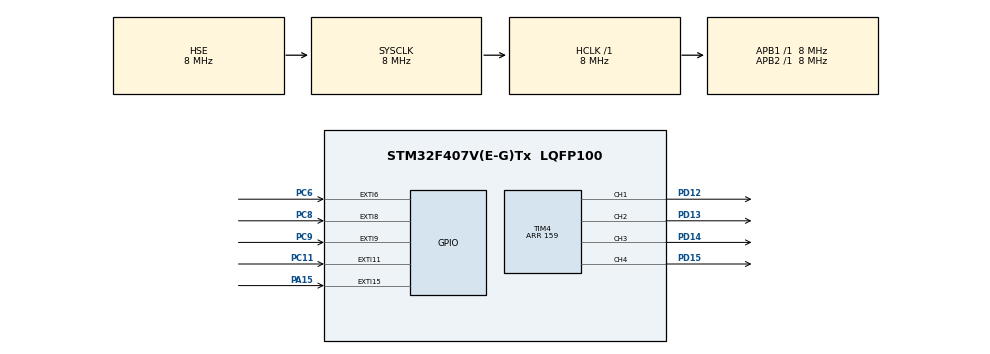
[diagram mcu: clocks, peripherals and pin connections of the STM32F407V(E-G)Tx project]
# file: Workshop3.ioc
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Mcu.Family=STM32F4
Mcu.Name=STM32F407V(E-G)Tx
Mcu.Package=LQFP100
NVIC.EXTI15_10_IRQn=true\:0\:0\:false\:false\:true\:true\:true
NVIC.EXTI9_5_IRQn=true\:0\:0\:false\:false\:true\:true\:true
NVIC.PriorityGroup=NVIC_PRIORITYGROUP_4
PA15.GPIO_ModeDefaultEXTI=GPIO_MODE_IT_FALLING
PA15.Signal=GPXTI15
PC11.GPIO_ModeDefaultEXTI=GPIO_MODE_IT_FALLING
PC11.Signal=GPXTI11
PC6.GPIO_ModeDefaultEXTI=GPIO_MODE_IT_FALLING
PC6.Signal=GPXTI6
PC8.GPIO_ModeDefaultEXTI=GPIO_MODE_IT_FALLING
PC8.Signal=GPXTI8
PC9.GPIO_ModeDefaultEXTI=GPIO_MODE_IT_FALLING
PC9.Signal=GPXTI9
PD12.Signal=S_TIM4_CH1
PD13.Signal=S_TIM4_CH2
PD14.Signal=S_TIM4_CH3
PD15.Signal=S_TIM4_CH4
PH0-OSC_IN.Mode=HSE-External-Oscillator
PH0-OSC_IN.Signal=RCC_OSC_IN
PH1-OSC_OUT.Mode=HSE-External-Oscillator
PH1-OSC_OUT.Signal=RCC_OSC_OUT
ProjectManager.HeapSize=0x200
ProjectManager.StackSize=0x400
ProjectManager.TargetToolchain=STM32CubeIDE
RCC.48MHZClocksFreq_Value=48000000
RCC.AHBFreq_Value=8000000
RCC.APB1Freq_Value=8000000
RCC.APB1TimFreq_Value=8000000
RCC.APB2Freq_Value=8000000
RCC.APB2TimFreq_Value=8000000
RCC.CortexFreq_Value=8000000
RCC.HCLKFreq_Value=8000000
RCC.HSE_VALUE=8000000
RCC.HSI_VALUE=16000000
RCC.LSE_VALUE=32768
RCC.SYSCLKFreq_VALUE=8000000
RCC.SYSCLKSource=RCC_SYSCLKSOURCE_HSE
RCC.VCOOutputFreq_Value=192000000
SH.S_TIM4_CH1.0=TIM4_CH1,PWM Generation1 CH1
SH.S_TIM4_CH2.0=TIM4_CH2,PWM Generation2 CH2
SH.S_TIM4_CH3.0=TIM4_CH3,PWM Generation3 CH3
SH.S_TIM4_CH4.0=TIM4_CH4,PWM Generation4 CH4
TIM4.AutoReloadPreload=TIM_AUTORELOAD_PRELOAD_ENABLE
TIM4.Channel-PWM\ Generation1\ CH1=TIM_CHANNEL_1
TIM4.Channel-PWM\ Generation2\ CH2=TIM_CHANNEL_2
TIM4.Channel-PWM\ Generation3\ CH3=TIM_CHANNEL_3
TIM4.Channel-PWM\ Generation4\ CH4=TIM_CHANNEL_4
TIM4.Period=159
TIM4.Pulse-PWM\ Generation1\ CH1=80
TIM4.Pulse-PWM\ Generation2\ CH2=80
TIM4.Pulse-PWM\ Generation3\ CH3=80
TIM4.Pulse-PWM\ Generation4\ CH4=80
VP_TIM4_VS_ClockSourceINT.Mode=Internal
board=custom

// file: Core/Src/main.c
/* USER CODE BEGIN Header */
/**
  ******************************************************************************
  * @file           : main.c
  * @brief          : Main program body
  ******************************************************************************
  * @attention
  *
  * <h2><center>&copy; Copyright (c) 2021 STMicroelectronics.
  * All rights reserved.</center></h2>
  *
  * This software component is licensed by ST under BSD 3-Clause license,
  * the "License"; You may not use this file except in compliance with the
  * License. You may obtain a copy of the License at:
  *                        opensource.org/licenses/BSD-3-Clause
  *
  ******************************************************************************
  */
/* USER CODE END Header */
#include "main.h"

TIM_HandleTypeDef htim4;

void SystemClock_Config(void);
static void MX_GPIO_Init(void);
static void MX_TIM4_Init(void);

/* USER CODE BEGIN 0 */

int8_t scheme = 0;
const uint8_t dutyCycleChangePercent = 5;
const uint16_t signalFrequencyChange = 5000;
uint16_t globalDutyCycle = 80;

void updateScheme(int value)
{
	switch(scheme)
	{
	case 0:
		TIM4->CCR1 = value;
		break;
	case 1:
		TIM4->CCR2 = value;
		break;
	case 2:
		TIM4->CCR3 = value;
		break;
	case 3:
		TIM4->CCR4 = value;
		break;
	default:
		break;
	}
}

void updateDutyCycle(int percent)
{
	int newDutyCycle = (globalDutyCycle) * percent / 100 + globalDutyCycle;
	if (newDutyCycle < TIM4->ARR)
	{
		globalDutyCycle = newDutyCycle;
		updateScheme(globalDutyCycle);
	}

}

void updateSignalFrequency(int updateFrequencyValue)
{
	int percentOfChange = updateFrequencyValue * 100 / ((int)(HSE_VALUE / TIM4->ARR));
	int newPeriod = HSE_VALUE / (HSE_VALUE / TIM4->ARR + updateFrequencyValue);

	if (newPeriod < HSE_VALUE && newPeriod > 0)
	{
		TIM4->ARR = newPeriod;
		updateDutyCycle(-percentOfChange);
	}
}

/* USER CODE END 0 */

int main(void)
{

  /* MCU Configuration--------------------------------------------------------*/

  /* Reset of all peripherals, Initializes the Flash interface and the Systick. */
  HAL_Init();

  /* Configure the system clock */
  SystemClock_Config();

  /* Initialize all configured peripherals */
  MX_GPIO_Init();
  MX_TIM4_Init();
  /* USER CODE BEGIN 2 */
  HAL_TIM_Base_Start_IT(&htim4);
  HAL_TIM_PWM_Start(&htim4, TIM_CHANNEL_1);
  HAL_TIM_PWM_Start(&htim4, TIM_CHANNEL_2);
  HAL_TIM_PWM_Start(&htim4, TIM_CHANNEL_3);
  HAL_TIM_PWM_Start(&htim4, TIM_CHANNEL_4);

  TIM4->CCR2 = 0;
  TIM4->CCR3 = 0;
  TIM4->CCR4 = 0;

  /* USER CODE END 2 */
  /* Infinite loop */
  while (1)
  {

  }
}

void SystemClock_Config(void)
{
  RCC_OscInitTypeDef RCC_OscInitStruct = {0};
  RCC_ClkInitTypeDef RCC_ClkInitStruct = {0};

  /** Configure the main internal regulator output voltage
  */
  __HAL_RCC_PWR_CLK_ENABLE();
  __HAL_PWR_VOLTAGESCALING_CONFIG(PWR_REGULATOR_VOLTAGE_SCALE1);
  /** Initializes the RCC Oscillators according to the specified parameters
  * in the RCC_OscInitTypeDef structure.
  */
  RCC_OscInitStruct.OscillatorType = RCC_OSCILLATORTYPE_HSE;
  RCC_OscInitStruct.HSEState = RCC_HSE_ON;
  RCC_OscInitStruct.PLL.PLLState = RCC_PLL_NONE;
  if (HAL_RCC_OscConfig(&RCC_OscInitStruct) != HAL_OK)
  {
    Error_Handler();
  }
  /** Initializes the CPU, AHB and APB buses clocks
  */
  RCC_ClkInitStruct.ClockType = RCC_CLOCKTYPE_HCLK|RCC_CLOCKTYPE_SYSCLK
                              |RCC_CLOCKTYPE_PCLK1|RCC_CLOCKTYPE_PCLK2;
  RCC_ClkInitStruct.SYSCLKSource = RCC_SYSCLKSOURCE_HSE;
  RCC_ClkInitStruct.AHBCLKDivider = RCC_SYSCLK_DIV1;
  RCC_ClkInitStruct.APB1CLKDivider = RCC_HCLK_DIV1;
  RCC_ClkInitStruct.APB2CLKDivider = RCC_HCLK_DIV1;

  if (HAL_RCC_ClockConfig(&RCC_ClkInitStruct, FLASH_LATENCY_0) != HAL_OK)
  {
    Error_Handler();
  }
}

static void MX_TIM4_Init(void)
{

  TIM_ClockConfigTypeDef sClockSourceConfig = {0};
  TIM_MasterConfigTypeDef sMasterConfig = {0};
  TIM_OC_InitTypeDef sConfigOC = {0};

  htim4.Instance = TIM4;
  htim4.Init.Prescaler = 0;
  htim4.Init.CounterMode = TIM_COUNTERMODE_UP;
  htim4.Init.Period = 159;
  htim4.Init.ClockDivision = TIM_CLOCKDIVISION_DIV1;
  htim4.Init.AutoReloadPreload = TIM_AUTORELOAD_PRELOAD_ENABLE;
  if (HAL_TIM_Base_Init(&htim4) != HAL_OK)
  {
    Error_Handler();
  }
  sClockSourceConfig.ClockSource = TIM_CLOCKSOURCE_INTERNAL;
  if (HAL_TIM_ConfigClockSource(&htim4, &sClockSourceConfig) != HAL_OK)
  {
    Error_Handler();
  }
  if (HAL_TIM_PWM_Init(&htim4) != HAL_OK)
  {
    Error_Handler();
  }
  sMasterConfig.MasterOutputTrigger = TIM_TRGO_RESET;
  sMasterConfig.MasterSlaveMode = TIM_MASTERSLAVEMODE_DISABLE;
  if (HAL_TIMEx_MasterConfigSynchronization(&htim4, &sMasterConfig) != HAL_OK)
  {
    Error_Handler();
  }
  sConfigOC.OCMode = TIM_OCMODE_PWM1;
  sConfigOC.Pulse = 80;
  sConfigOC.OCPolarity = TIM_OCPOLARITY_HIGH;
  sConfigOC.OCFastMode = TIM_OCFAST_DISABLE;
  if (HAL_TIM_PWM_ConfigChannel(&htim4, &sConfigOC, TIM_CHANNEL_1) != HAL_OK)
  {
    Error_Handler();
  }
  if (HAL_TIM_PWM_ConfigChannel(&htim4, &sConfigOC, TIM_CHANNEL_2) != HAL_OK)
  {
    Error_Handler();
  }
  if (HAL_TIM_PWM_ConfigChannel(&htim4, &sConfigOC, TIM_CHANNEL_3) != HAL_OK)
  {
    Error_Handler();
  }
  if (HAL_TIM_PWM_ConfigChannel(&htim4, &sConfigOC, TIM_CHANNEL_4) != HAL_OK)
  {
    Error_Handler();
  }
  HAL_TIM_MspPostInit(&htim4);

}

static void MX_GPIO_Init(void)
{
  GPIO_InitTypeDef GPIO_InitStruct = {0};

  /* GPIO Ports Clock Enable */
  __HAL_RCC_GPIOH_CLK_ENABLE();
  __HAL_RCC_GPIOD_CLK_ENABLE();
  __HAL_RCC_GPIOC_CLK_ENABLE();
  __HAL_RCC_GPIOA_CLK_ENABLE();

  /*Configure GPIO pins : PC6 PC8 PC9 PC11 */
  GPIO_InitStruct.Pin = GPIO_PIN_6|GPIO_PIN_8|GPIO_PIN_9|GPIO_PIN_11;
  GPIO_InitStruct.Mode = GPIO_MODE_IT_FALLING;
  GPIO_InitStruct.Pull = GPIO_NOPULL;
  HAL_GPIO_Init(GPIOC, &GPIO_InitStruct);

  /*Configure GPIO pin : PA15 */
  GPIO_InitStruct.Pin = GPIO_PIN_15;
  GPIO_InitStruct.Mode = GPIO_MODE_IT_FALLING;
  GPIO_InitStruct.Pull = GPIO_NOPULL;
  HAL_GPIO_Init(GPIOA, &GPIO_InitStruct);

  /* EXTI interrupt init*/
  HAL_NVIC_SetPriority(EXTI9_5_IRQn, 0, 0);
  HAL_NVIC_EnableIRQ(EXTI9_5_IRQn);

  HAL_NVIC_SetPriority(EXTI15_10_IRQn, 0, 0);
  HAL_NVIC_EnableIRQ(EXTI15_10_IRQn);

}

/* USER CODE BEGIN 4 */

void HAL_GPIO_EXTI_Callback(uint16_t GPIO_PIN)
{
	switch (GPIO_PIN)
	{
	case GPIO_PIN_15:	// next scheme
		for (uint16_t value = 0;; value = globalDutyCycle)
		{
			updateScheme(value);
			if (value != 0)
				break;
			scheme = scheme < 3 ? scheme + 1 : -1;
		}
		break;
	case GPIO_PIN_6:	// increase duty cycle
		updateDutyCycle(+dutyCycleChangePercent);
		break;
	case GPIO_PIN_8:	// decrease duty cycle
		updateDutyCycle(-dutyCycleChangePercent);
		break;
	case GPIO_PIN_9:	// increase signal frequency
		updateSignalFrequency(+signalFrequencyChange);
		break;
	case GPIO_PIN_11:	// decrease signal frequency
		updateSignalFrequency(-signalFrequencyChange);
		break;
	default:
		break;
	}
}

/* USER CODE END 4 */

void Error_Handler(void)
{
  __disable_irq();
  while (1)
  {
  }
}

/************************ (C) COPYRIGHT STMicroelectronics *****END OF FILE****/
